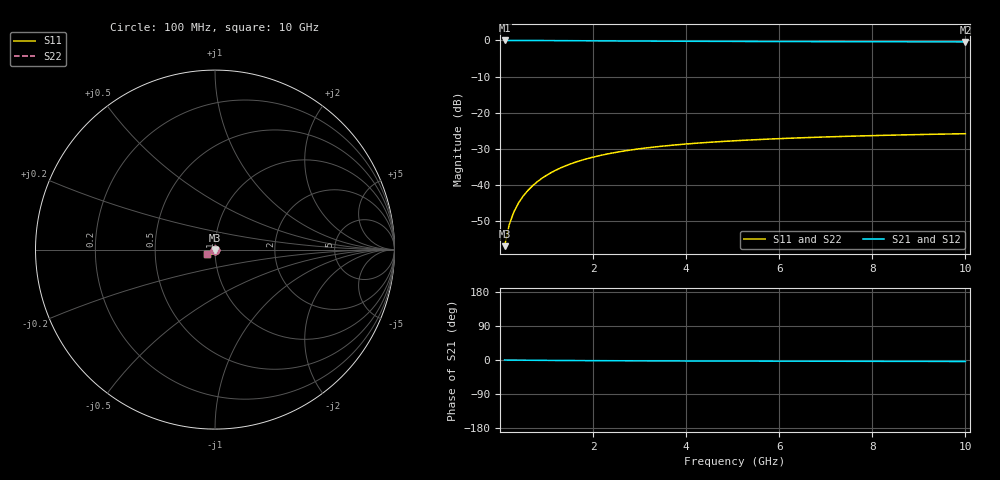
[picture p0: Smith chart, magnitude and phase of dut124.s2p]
! Touchstone file exported from HFSS 2024.1.0
!  File:  C:/UserFiles/LocalFiles/RDL_TSV_Batchsim/temp_TSV1_124_1778753554.aedt
!  Generated:  06:17:47 PM May 14, 2026
!  Design:  TSV1
!  Project:  temp_TSV1_124_1778753554
!  Setup:  Setup1
!  Solution:  Sweep
! Variables:
!  dtsv = 16.17um
!  hbump = 3um
!  htsv = 53.55um
!  lrdl = 252.1521522um
!  p = 40
!  p1 = 46.43um
!  t = 500um
!  trdl = 3um
!  wrdl = 24.89489489um
# GHz S MA R 50.000000
! Terminal data exported
! Port[1] = TSV22_T1
! Port[2] = TSV22_T2
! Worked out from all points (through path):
!   100 points, 100 MHz to 10 GHz, reference 50 ohm
!   highest |S21| = 0.00 dB at 100 MHz (marker M1); lowest = -0.4 dB at 10 GHz (marker M2)
!   lowest |S11| = -56.9 dB at 100 MHz (marker M3), VSWR 1.00, Z = 50 - j0.143 ohm
!   |S11| at or under -10 dB: start of sweep to end of sweep
!   |S22| runs from -56.9 to -25.8 dB; largest |S21 - S12| = 3.1e-15
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0.1  0.001426 -89.0  0.9999 -0.1  0.9999 -0.1  0.001426 -89.0
! Gamma 0 0 0 0
! Port Impedance 50 0 50 0
0.2  0.002846 -92.0  0.9998 -0.2  0.9998 -0.2  0.002846 -92.0
0.3  0.004259 -94.1  0.9996 -0.3  0.9996 -0.3  0.004259 -94.1
0.4  0.005659 -95.9  0.9993 -0.4  0.9993 -0.4  0.005659 -95.9
0.5  0.007045 -97.6  0.9989 -0.5  0.9989 -0.5  0.007045 -97.6
0.6  0.008411 -99.3  0.9985 -0.6  0.9985 -0.6  0.008411 -99.3
0.7  0.009755 -100.9  0.998 -0.7  0.998 -0.7  0.009755 -100.9
0.8  0.01107 -102.5  0.9974 -0.8  0.9974 -0.8  0.01107 -102.5
0.9  0.01236 -104.0  0.9968 -0.9  0.9968 -0.9  0.01236 -104.0
1.1  0.01485 -106.9  0.9954 -1.1  0.9954 -1.1  0.01485 -106.9
1.4  0.01832 -111.0  0.9932 -1.3  0.9932 -1.3  0.01832 -111.0
1.6  0.02046 -113.6  0.9916 -1.5  0.9916 -1.5  0.02046 -113.6
1.8  0.02245 -115.9  0.9899 -1.6  0.9899 -1.6  0.02245 -115.9
2.1  0.02517 -119.2  0.9875 -1.8  0.9875 -1.8  0.02517 -119.2
2.5  0.02836 -123.0  0.9844 -2.0  0.9844 -2.0  0.02836 -123.0
2.9  0.0311 -126.3  0.9815 -2.1  0.9815 -2.1  0.0311 -126.3
3.4  0.03402 -129.9  0.9782 -2.3  0.9782 -2.3  0.03402 -129.9
4.2  0.0378 -134.4  0.9736 -2.6  0.9736 -2.6  0.0378 -134.4
5.1  0.04113 -138.2  0.9693 -2.8  0.9693 -2.8  0.04113 -138.2
6.7  0.04556 -143.2  0.9635 -3.2  0.9635 -3.2  0.04556 -143.2
8.4  0.04894 -147.0  0.959 -3.6  0.959 -3.6  0.04894 -147.0
10  0.05128 -149.6  0.9558 -3.9  0.9558 -3.9  0.05128 -149.6
